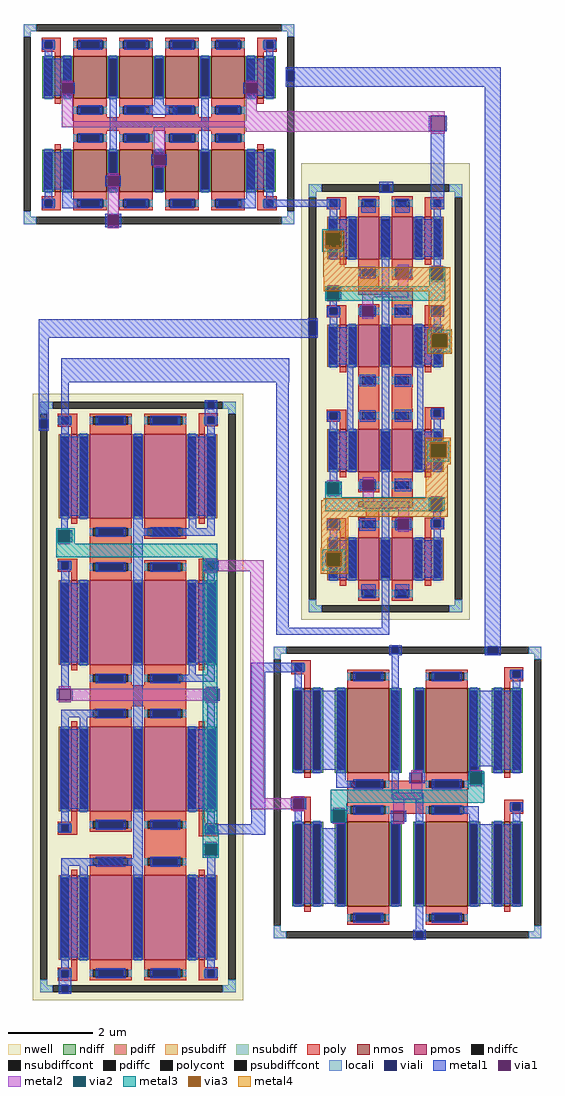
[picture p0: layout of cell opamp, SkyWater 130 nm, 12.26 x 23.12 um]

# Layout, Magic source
magic
tech sky130A
magscale 1 2
<< viali >>
rect 2764 3991 2798 4045
rect 2867 2788 2903 2857
rect 1594 2347 1628 2389
rect 3713 1278 3764 1312
<< metal1 >>
rect 2758 4045 3776 4057
rect 2758 3991 2764 4045
rect 2798 3991 3776 4045
rect 2758 3966 3776 3991
rect 3434 3754 3444 3828
rect 3510 3754 3520 3828
rect 2664 3396 3001 3430
rect 3444 3386 3509 3754
rect 2861 2864 2909 2869
rect 1586 2857 2910 2864
rect 1586 2788 2867 2857
rect 2903 2788 2910 2857
rect 1586 2776 2910 2788
rect 1587 2389 1634 2776
rect 1587 2347 1594 2389
rect 1628 2347 1634 2389
rect 1694 2566 2773 2679
rect 1694 2367 1728 2566
rect 1587 2335 1634 2347
rect 2367 1670 2377 1722
rect 2429 1670 2439 1722
rect 2712 1401 2771 2566
rect 3213 1401 3247 1641
rect 2712 1369 3247 1401
rect 3701 1312 3776 3966
rect 3701 1278 3713 1312
rect 3764 1278 3776 1312
rect 3701 1272 3776 1278
rect 2594 1191 2846 1237
rect 2594 470 2661 1191
rect 2782 542 2792 594
rect 2844 542 2854 594
rect 2375 423 2661 470
rect 2594 422 2661 423
<< via1 >>
rect 3444 3754 3510 3828
rect 2377 1670 2429 1722
rect 2792 542 2844 594
<< metal2 >>
rect 2567 3828 3510 3850
rect 2567 3754 3444 3828
rect 2567 3753 3510 3754
rect 3444 3744 3510 3753
rect 2377 1722 2429 1732
rect 2429 1670 2652 1722
rect 2377 1660 2429 1670
rect 2590 594 2652 1670
rect 2792 594 2844 604
rect 2590 542 2792 594
rect 2792 532 2844 542
use nmos  nmos_0
transform 1 0 2990 0 1 628
box -290 -704 978 690
use nmosout  nmosout_0
transform 1 0 1692 0 -1 3756
box -176 -507 1106 460
use pmoscs  pmoscs_0
transform 1 0 1736 0 1 458
box -178 -820 820 2052
use pmosout  pmosout_0
transform 1 0 3007 0 1 3029
box -176 -1590 622 574
<< end >>

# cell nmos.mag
magic
tech sky130A
magscale 1 2
<< nmos >>
rect -144 88 -114 488
rect -144 -545 -114 -145
rect 58 -545 258 -145
rect 430 -545 630 -145
rect 802 -545 832 -145
<< ndiff >>
rect -202 476 -144 488
rect -202 100 -190 476
rect -156 100 -144 476
rect -202 88 -144 100
rect -114 476 -56 488
rect -114 100 -102 476
rect -68 100 -56 476
rect -114 88 -56 100
rect -202 -157 -144 -145
rect -202 -533 -190 -157
rect -156 -533 -144 -157
rect -202 -545 -144 -533
rect -114 -157 -56 -145
rect -114 -533 -102 -157
rect -68 -533 -56 -157
rect -114 -545 -56 -533
rect 0 -157 58 -145
rect 0 -533 12 -157
rect 46 -533 58 -157
rect 0 -545 58 -533
rect 258 -157 316 -145
rect 258 -533 270 -157
rect 304 -533 316 -157
rect 258 -545 316 -533
rect 372 -157 430 -145
rect 372 -533 384 -157
rect 418 -533 430 -157
rect 372 -545 430 -533
rect 630 -157 688 -145
rect 630 -533 642 -157
rect 676 -533 688 -157
rect 630 -545 688 -533
rect 744 -157 802 -145
rect 744 -533 756 -157
rect 790 -533 802 -157
rect 744 -545 802 -533
rect 832 -157 890 -145
rect 832 -533 844 -157
rect 878 -533 890 -157
rect 832 -545 890 -533
<< ndiffc >>
rect -190 100 -156 476
rect -102 100 -68 476
rect -190 -533 -156 -157
rect -102 -533 -68 -157
rect 12 -533 46 -157
rect 270 -533 304 -157
rect 384 -533 418 -157
rect 642 -533 676 -157
rect 756 -533 790 -157
rect 844 -533 878 -157
<< psubdiff >>
rect -290 650 -230 684
rect 918 650 978 684
rect -290 624 -256 650
rect 944 624 978 650
rect -290 -664 -256 -638
rect 944 -664 978 -638
rect -290 -698 -230 -664
rect 918 -698 978 -664
<< psubdiffcont >>
rect -230 650 918 684
rect -290 -638 -256 624
rect 944 -638 978 624
rect -230 -698 918 -664
<< poly >>
rect -206 603 -114 619
rect -206 569 -190 603
rect -156 569 -114 603
rect -206 553 -114 569
rect -144 488 -114 553
rect 802 570 894 586
rect 802 536 844 570
rect 878 536 894 570
rect 802 520 894 536
rect 802 514 832 520
rect -144 62 -114 88
rect -206 -42 -114 -26
rect -206 -76 -190 -42
rect -156 -76 -114 -42
rect -206 -92 -114 -76
rect -144 -145 -114 -92
rect 58 -73 630 50
rect 58 -107 74 -73
rect 242 -107 446 -73
rect 614 -107 630 -73
rect 58 -145 258 -107
rect 430 -145 630 -107
rect 802 -58 894 -42
rect 802 -92 844 -58
rect 878 -92 894 -58
rect 802 -108 894 -92
rect 802 -145 832 -108
rect -144 -571 -114 -545
rect 58 -583 258 -545
rect 58 -617 74 -583
rect 242 -617 258 -583
rect 58 -633 258 -617
rect 430 -583 630 -545
rect 802 -571 832 -545
rect 430 -617 446 -583
rect 614 -617 630 -583
rect 430 -633 630 -617
<< polycont >>
rect -190 569 -156 603
rect 844 536 878 570
rect -190 -76 -156 -42
rect 74 -107 242 -73
rect 446 -107 614 -73
rect 844 -92 878 -58
rect 74 -617 242 -583
rect 446 -617 614 -583
<< locali >>
rect -290 650 -230 684
rect 918 650 978 684
rect -290 624 -256 650
rect 944 624 978 650
rect -206 569 -190 603
rect -156 569 -140 603
rect 828 536 844 570
rect 878 536 894 570
rect -190 476 -156 492
rect -190 84 -156 100
rect -102 476 -68 492
rect -102 84 -68 100
rect -206 -76 -190 -42
rect -156 -76 -140 -42
rect 58 -107 74 -73
rect 242 -107 258 -73
rect 430 -107 446 -73
rect 614 -107 630 -73
rect 828 -92 844 -58
rect 878 -92 894 -58
rect -190 -157 -156 -141
rect -190 -549 -156 -533
rect -102 -157 -68 -141
rect -102 -549 -68 -533
rect 12 -157 46 -141
rect 12 -549 46 -533
rect 270 -157 304 -141
rect 270 -549 304 -533
rect 384 -157 418 -141
rect 384 -549 418 -533
rect 642 -157 676 -141
rect 642 -549 676 -533
rect 756 -157 790 -141
rect 756 -549 790 -533
rect 844 -157 878 -141
rect 844 -549 878 -533
rect 58 -617 74 -583
rect 242 -617 258 -583
rect 430 -617 446 -583
rect 614 -617 630 -583
rect -290 -664 -256 -638
rect 944 -664 978 -638
rect -290 -698 -230 -664
rect 918 -698 978 -664
<< viali >>
rect 270 650 304 684
rect -190 569 -156 603
rect 844 536 878 570
rect -190 100 -156 476
rect -102 100 -68 476
rect -190 -76 -156 -42
rect 99 -107 217 -73
rect 471 -107 589 -73
rect 844 -92 878 -58
rect -190 -533 -156 -157
rect -102 -533 -68 -157
rect 12 -533 46 -157
rect 270 -533 304 -157
rect 384 -533 418 -157
rect 642 -533 676 -157
rect 756 -533 790 -157
rect 844 -533 878 -157
rect 99 -617 217 -583
rect 471 -617 589 -583
rect 384 -698 418 -664
<< metal1 >>
rect 258 684 316 690
rect 258 650 270 684
rect 304 650 316 684
rect 258 644 316 650
rect -202 603 -144 609
rect -202 569 -190 603
rect -156 569 -144 603
rect -202 563 -144 569
rect -190 488 -156 563
rect -196 476 -150 488
rect -108 476 -62 488
rect -196 100 -190 476
rect -156 100 -102 476
rect -68 475 -62 476
rect -68 100 46 475
rect -196 88 -150 100
rect -108 88 -62 100
rect 7 50 52 88
rect 7 16 99 50
rect 270 -7 304 644
rect 832 570 890 576
rect 832 536 844 570
rect 878 536 890 570
rect 832 530 890 536
rect 844 476 878 530
rect 642 118 878 476
rect 756 100 878 118
rect 352 36 362 88
rect 414 36 427 88
rect 632 32 642 88
rect 698 32 708 88
rect -202 -42 -144 -36
rect 269 -40 419 -7
rect -202 -76 -190 -42
rect -156 -76 -144 -42
rect -202 -82 -144 -76
rect 87 -73 229 -67
rect -190 -145 -156 -82
rect -20 -145 -10 -89
rect 46 -145 56 -89
rect 87 -107 99 -73
rect 217 -107 229 -73
rect 87 -113 229 -107
rect 266 -145 276 -93
rect 328 -145 338 -93
rect 384 -145 418 -40
rect 832 -58 890 -52
rect 459 -73 601 -67
rect 459 -107 471 -73
rect 589 -107 682 -73
rect 832 -92 844 -58
rect 878 -92 890 -58
rect 832 -98 890 -92
rect 459 -113 601 -107
rect -196 -157 -150 -145
rect -108 -157 -62 -145
rect -196 -533 -190 -157
rect -156 -533 -102 -157
rect -68 -175 -62 -157
rect 6 -157 52 -145
rect 6 -175 12 -157
rect -68 -533 12 -175
rect 46 -533 52 -157
rect -196 -545 -150 -533
rect -108 -545 -62 -533
rect 6 -545 52 -533
rect 264 -157 310 -145
rect 264 -533 270 -157
rect 304 -533 310 -157
rect 264 -545 310 -533
rect 378 -157 424 -145
rect 378 -533 384 -157
rect 418 -533 424 -157
rect 378 -545 424 -533
rect 636 -157 682 -107
rect 844 -145 878 -98
rect 750 -157 796 -145
rect 838 -157 884 -145
rect 636 -533 642 -157
rect 676 -533 756 -157
rect 790 -533 844 -157
rect 878 -533 884 -157
rect 636 -545 682 -533
rect 750 -545 796 -533
rect 838 -545 884 -533
rect 87 -583 229 -577
rect 87 -617 99 -583
rect 217 -617 229 -583
rect 87 -623 229 -617
rect 384 -658 418 -545
rect 459 -583 601 -577
rect 459 -617 471 -583
rect 589 -617 601 -583
rect 459 -623 601 -617
rect 372 -664 430 -658
rect 372 -698 384 -664
rect 418 -698 430 -664
rect 372 -704 430 -698
<< via1 >>
rect 362 36 414 88
rect 642 32 698 88
rect -10 -145 46 -89
rect 276 -145 328 -93
<< metal2 >>
rect 362 88 414 98
rect 362 -7 414 36
rect 642 88 698 98
rect 642 22 698 32
rect 276 -39 414 -7
rect -10 -89 46 -79
rect -10 -155 46 -145
rect 276 -93 329 -39
rect 328 -145 329 -93
rect 276 -155 328 -145
<< via2 >>
rect 642 32 698 88
rect -10 -145 46 -89
<< metal3 >>
rect 632 88 708 93
rect 632 32 642 88
rect 698 32 708 88
rect 632 7 708 32
rect -20 -55 708 7
rect -20 -89 56 -55
rect -20 -145 -10 -89
rect 46 -145 56 -89
rect -20 -150 56 -145
use sky130_fd_pr__nfet_01v8_6C7GGL  sky130_fd_pr__nfet_01v8_6C7GGL_0
transform 1 0 817 0 1 288
box -73 -226 73 226
use sky130_fd_pr__nfet_01v8_8UMB6F  sky130_fd_pr__nfet_01v8_8UMB6F_0
transform 1 0 344 0 1 288
box -344 -288 344 288
<< labels >>
flabel metal1 288 228 288 228 0 FreeSans 320 0 0 0 S3
flabel metal1 30 231 30 231 0 FreeSans 320 0 0 0 D3
flabel space 400 223 400 223 0 FreeSans 320 0 0 0 S4
flabel metal1 667 217 667 217 0 FreeSans 320 0 0 0 D4
flabel viali 287 -309 287 -309 0 FreeSans 320 0 0 0 S4
flabel viali 30 -318 30 -318 0 FreeSans 320 0 0 0 D4
flabel viali 400 -333 400 -333 0 FreeSans 320 0 0 0 S3
flabel viali 657 -337 657 -337 0 FreeSans 320 0 0 0 D3
flabel viali 399 -681 399 -681 0 FreeSans 1600 0 0 0 gnd
port 1 nsew
flabel via1 382 67 382 67 0 FreeSans 1600 0 0 0 rs
port 2 nsew
flabel metal1 29 42 29 42 0 FreeSans 1600 0 0 0 d3
port 3 nsew
flabel via2 669 54 669 54 0 FreeSans 1600 0 0 0 d4
port 4 nsew
<< end >>

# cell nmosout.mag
magic
tech sky130A
magscale 1 2
<< psubdiff >>
rect -176 407 -116 441
rect 1046 407 1106 441
rect -176 381 -142 407
rect 1072 381 1106 407
rect -176 -473 -142 -447
rect 1072 -473 1106 -447
rect -176 -507 -116 -473
rect 1046 -507 1106 -473
<< psubdiffcont >>
rect -116 407 1046 441
rect -176 -447 -142 381
rect 1072 -447 1106 381
rect -116 -507 1046 -473
<< poly >>
rect -92 360 0 376
rect -92 326 -76 360
rect -42 326 0 360
rect -92 310 0 326
rect -30 294 0 310
rect 930 360 1022 376
rect 930 326 972 360
rect 1006 326 1022 360
rect 930 310 1022 326
rect 930 296 958 310
rect 58 -66 872 0
rect -30 -376 0 -362
rect -92 -392 0 -376
rect -92 -426 -76 -392
rect -42 -426 0 -392
rect -92 -442 0 -426
rect 930 -376 960 -365
rect 930 -392 1022 -376
rect 930 -426 972 -392
rect 1006 -426 1022 -392
rect 930 -442 1022 -426
<< polycont >>
rect -76 326 -42 360
rect 972 326 1006 360
rect -76 -426 -42 -392
rect 972 -426 1006 -392
<< locali >>
rect -176 407 -116 441
rect 1046 407 1106 441
rect -176 381 -142 407
rect 1072 381 1106 407
rect -92 326 -76 360
rect -42 326 -26 360
rect 956 326 972 360
rect 1006 326 1022 360
rect -92 -426 -76 -392
rect -42 -426 -26 -392
rect 956 -426 972 -392
rect 1006 -426 1022 -392
rect -176 -473 -142 -447
rect 1072 -473 1106 -447
rect -176 -507 -116 -473
rect 1046 -507 1106 -473
<< viali >>
rect 221 441 273 450
rect 221 407 273 441
rect 221 398 273 407
rect -76 326 -42 360
rect 972 326 1006 360
rect -76 -426 -42 -392
rect 972 -426 1006 -392
<< metal1 >>
rect 209 450 285 456
rect 209 398 221 450
rect 273 398 285 450
rect 209 392 285 398
rect -88 360 -30 366
rect -88 326 -76 360
rect -42 326 -30 360
rect -88 320 -30 326
rect 6 320 84 366
rect 845 320 924 366
rect 960 360 1018 366
rect 960 326 972 360
rect 1006 326 1018 360
rect 960 320 1018 326
rect -76 276 -42 320
rect 6 277 52 320
rect 878 276 924 320
rect 972 276 1006 320
rect -76 100 46 276
rect 878 269 1006 276
rect 211 211 221 263
rect 273 211 283 263
rect 429 110 439 162
rect 491 110 501 162
rect 884 100 1006 269
rect 231 -18 264 91
rect 665 -18 700 90
rect 231 -46 700 -18
rect 231 -158 264 -46
rect 398 -122 552 -76
rect 442 -154 488 -122
rect 665 -163 700 -46
rect -76 -176 46 -166
rect 884 -176 1006 -166
rect -76 -228 3 -176
rect 55 -228 65 -176
rect 865 -228 875 -176
rect 927 -228 1006 -176
rect -76 -342 46 -228
rect 884 -342 1006 -228
rect -76 -386 -42 -345
rect 972 -386 1006 -346
rect -88 -392 -30 -386
rect -88 -426 -76 -392
rect -42 -426 -30 -392
rect -88 -432 -30 -426
rect 960 -392 1018 -386
rect 960 -426 972 -392
rect 1006 -426 1018 -392
rect 960 -432 1018 -426
<< via1 >>
rect 221 398 273 450
rect 221 211 273 263
rect 439 110 491 162
rect 3 -228 55 -176
rect 875 -228 927 -176
<< metal2 >>
rect 221 450 273 460
rect 221 263 273 398
rect 221 201 273 211
rect 439 162 491 172
rect 439 -18 491 110
rect 3 -46 927 -18
rect 3 -176 55 -46
rect 3 -238 55 -228
rect 875 -176 927 -46
rect 875 -238 927 -228
use sky130_fd_pr__nfet_01v8_6H9P4D  sky130_fd_pr__nfet_01v8_6H9P4D_0
transform 1 0 945 0 1 188
box -73 -126 73 126
use sky130_fd_pr__nfet_01v8_6H9P4D  sky130_fd_pr__nfet_01v8_6H9P4D_1
transform 1 0 -15 0 1 188
box -73 -126 73 126
use sky130_fd_pr__nfet_01v8_6H9P4D  sky130_fd_pr__nfet_01v8_6H9P4D_2
transform 1 0 -15 0 1 -254
box -73 -126 73 126
use sky130_fd_pr__nfet_01v8_6H9P4D  sky130_fd_pr__nfet_01v8_6H9P4D_3
transform 1 0 945 0 1 -254
box -73 -126 73 126
use sky130_fd_pr__nfet_01v8_DXNGNZ  sky130_fd_pr__nfet_01v8_DXNGNZ_0
transform 1 0 465 0 1 188
box -465 -188 465 188
use sky130_fd_pr__nfet_01v8_DXNGNZ  sky130_fd_pr__nfet_01v8_DXNGNZ_1
transform 1 0 465 0 1 -254
box -465 -188 465 188
<< labels >>
flabel metal2 242 350 242 350 0 FreeSans 800 0 0 0 gnd
port 0 nsew
flabel metal1 -24 188 -24 188 0 FreeSans 800 0 0 0 d8
port 1 nsew
flabel metal1 -20 -248 -20 -248 0 FreeSans 800 0 0 0 out
port 2 nsew
<< end >>

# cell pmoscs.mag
magic
tech sky130A
magscale 1 2
<< nwell >>
rect -178 -820 820 2052
<< nsubdiff >>
rect -142 1982 -82 2016
rect 724 1982 784 2016
rect -142 1957 -108 1982
rect 750 1957 784 1982
rect -142 -750 -108 -724
rect 750 -750 784 -724
rect -142 -784 -82 -750
rect 724 -784 784 -750
<< nsubdiffcont >>
rect -82 1982 724 2016
rect -142 -724 -108 1957
rect 750 -724 784 1957
rect -82 -784 724 -750
<< poly >>
rect -58 1943 34 1959
rect -58 1909 -42 1943
rect -8 1909 34 1943
rect -58 1897 34 1909
rect 4 1868 34 1897
rect 608 1944 700 1960
rect 608 1910 650 1944
rect 684 1910 700 1944
rect 608 1898 700 1910
rect 608 1884 638 1898
rect -58 1256 34 1272
rect 92 1265 292 1365
rect -58 1222 -42 1256
rect -8 1222 34 1256
rect -58 1210 34 1222
rect 4 1192 34 1210
rect 608 1254 700 1270
rect 608 1220 650 1254
rect 684 1220 700 1254
rect 608 1208 700 1220
rect 608 1181 638 1208
rect 92 571 550 671
rect 608 76 636 77
rect 4 24 34 50
rect -58 12 34 24
rect -58 -22 -42 12
rect -8 -22 34 12
rect -58 -38 34 -22
rect 608 34 638 76
rect 608 18 639 34
rect 608 6 701 18
rect 350 -132 550 -23
rect 608 -28 651 6
rect 685 -28 701 6
rect 608 -44 701 -28
rect 4 -666 34 -648
rect -58 -678 34 -666
rect -58 -712 -42 -678
rect -8 -712 34 -678
rect -58 -728 34 -712
rect 608 -665 638 -640
rect 608 -677 700 -665
rect 608 -711 650 -677
rect 684 -711 700 -677
rect 608 -727 700 -711
<< polycont >>
rect -42 1909 -8 1943
rect 650 1910 684 1944
rect -42 1222 -8 1256
rect 650 1220 684 1254
rect -42 -22 -8 12
rect 651 -28 685 6
rect -42 -712 -8 -678
rect 650 -711 684 -677
<< locali >>
rect -142 1982 -82 2016
rect 724 1982 784 2016
rect -142 1957 -108 1982
rect 750 1957 784 1982
rect -58 1909 -42 1943
rect -8 1909 8 1943
rect 634 1910 650 1944
rect 684 1910 700 1944
rect -58 1222 -42 1256
rect -8 1222 8 1256
rect 634 1220 650 1254
rect 684 1220 700 1254
rect -58 -22 -42 12
rect -8 -22 8 12
rect 635 -28 651 6
rect 685 -28 701 6
rect -58 -712 -42 -678
rect -8 -712 8 -678
rect 634 -711 650 -677
rect 684 -711 700 -677
rect -142 -750 -108 -724
rect 750 -750 784 -724
rect -142 -784 -82 -750
rect 724 -784 784 -750
<< viali >>
rect 650 1982 684 2016
rect -42 1909 -8 1943
rect 650 1910 684 1944
rect -42 1222 -8 1256
rect 650 1220 684 1254
rect -42 -22 -8 12
rect 651 -28 685 6
rect -42 -712 -8 -678
rect 650 -711 684 -677
rect -42 -784 -8 -750
<< metal1 >>
rect 638 2016 696 2022
rect 638 1982 650 2016
rect 684 1982 696 2016
rect -54 1943 4 1949
rect -54 1909 -42 1943
rect -8 1909 4 1943
rect -54 1903 4 1909
rect 638 1944 696 1982
rect 638 1910 650 1944
rect 684 1910 696 1944
rect 638 1904 696 1910
rect -42 1852 -8 1903
rect -42 1474 82 1850
rect -42 1405 -12 1474
rect 298 1415 344 1862
rect 650 1850 684 1904
rect 562 1475 684 1850
rect 561 1474 684 1475
rect 561 1415 597 1474
rect 650 1415 684 1474
rect -67 1349 -57 1405
rect -1 1349 9 1405
rect 298 1381 684 1415
rect -42 1339 -12 1349
rect -54 1256 4 1262
rect -54 1222 -42 1256
rect -8 1222 4 1256
rect -54 1216 4 1222
rect -42 1162 -5 1216
rect -7 1159 -5 1162
rect -42 780 80 1156
rect -42 656 -8 780
rect -64 600 -54 656
rect 2 600 12 656
rect -42 521 121 555
rect -42 474 -8 521
rect 46 474 80 521
rect -42 86 80 462
rect -42 18 -8 86
rect -54 12 4 18
rect -54 -22 -42 12
rect -8 -22 4 12
rect -54 -28 4 -22
rect 298 -148 344 1381
rect 638 1254 696 1260
rect 638 1220 650 1254
rect 684 1220 696 1254
rect 638 1214 696 1220
rect 650 1156 684 1214
rect 562 780 684 1156
rect 562 721 596 768
rect 650 721 684 768
rect 521 687 684 721
rect 650 655 684 659
rect 633 599 643 655
rect 699 599 709 655
rect 650 462 684 599
rect 562 90 684 462
rect 562 87 685 90
rect 562 86 686 87
rect 650 12 686 86
rect 639 6 697 12
rect 639 -28 651 6
rect 685 -28 697 6
rect 639 -34 697 -28
rect 629 -135 639 -79
rect 695 -135 705 -79
rect -43 -184 344 -148
rect -42 -241 -8 -184
rect 46 -241 82 -184
rect -42 -298 82 -241
rect -42 -617 80 -298
rect -42 -672 -8 -617
rect 298 -620 344 -184
rect 650 -241 687 -135
rect 562 -243 687 -241
rect 562 -610 684 -243
rect 562 -616 678 -610
rect 562 -617 684 -616
rect 650 -671 684 -617
rect -54 -678 4 -672
rect -54 -712 -42 -678
rect -8 -712 4 -678
rect -54 -750 4 -712
rect 638 -677 696 -671
rect 638 -711 650 -677
rect 684 -711 696 -677
rect 638 -717 696 -711
rect -54 -784 -42 -750
rect -8 -784 4 -750
rect -54 -790 4 -784
<< via1 >>
rect -57 1349 -1 1405
rect -54 600 2 656
rect 643 599 699 655
rect 639 -135 695 -79
<< metal2 >>
rect -57 1405 -1 1415
rect -57 1339 -1 1349
rect -54 656 2 666
rect 643 656 699 665
rect 2 655 699 656
rect 2 600 643 655
rect -54 599 643 600
rect -54 590 2 599
rect 643 589 699 599
rect 639 -79 695 -69
rect 639 -145 695 -135
<< via2 >>
rect -57 1349 -1 1405
rect 639 -135 695 -79
<< metal3 >>
rect -67 1405 22 1416
rect -67 1349 -57 1405
rect -1 1349 22 1405
rect -67 1343 22 1349
rect -67 1314 697 1343
rect -66 1279 697 1314
rect 21 1278 697 1279
rect 629 -21 697 1278
rect 629 -79 705 -21
rect 629 -135 639 -79
rect 695 -135 705 -79
rect 629 -147 705 -135
use sky130_fd_pr__pfet_01v8_2ZH9AN  sky130_fd_pr__pfet_01v8_2ZH9AN_0
transform 1 0 623 0 1 -429
box -109 -262 109 262
use sky130_fd_pr__pfet_01v8_2ZH9AN  sky130_fd_pr__pfet_01v8_2ZH9AN_2
transform 1 0 19 0 1 -429
box -109 -262 109 262
use sky130_fd_pr__pfet_01v8_2ZH9AN  sky130_fd_pr__pfet_01v8_2ZH9AN_3
transform 1 0 623 0 1 274
box -109 -262 109 262
use sky130_fd_pr__pfet_01v8_2ZH9AN  sky130_fd_pr__pfet_01v8_2ZH9AN_4
transform 1 0 19 0 1 274
box -109 -262 109 262
use sky130_fd_pr__pfet_01v8_2ZH9AN  sky130_fd_pr__pfet_01v8_2ZH9AN_5
transform 1 0 623 0 1 968
box -109 -262 109 262
use sky130_fd_pr__pfet_01v8_2ZH9AN  sky130_fd_pr__pfet_01v8_2ZH9AN_6
transform 1 0 19 0 1 968
box -109 -262 109 262
use sky130_fd_pr__pfet_01v8_2ZH9AN  sky130_fd_pr__pfet_01v8_2ZH9AN_7
transform 1 0 19 0 1 1662
box -109 -262 109 262
use sky130_fd_pr__pfet_01v8_5YU9EE  sky130_fd_pr__pfet_01v8_5YU9EE_0
transform 1 0 623 0 1 1662
box -109 -262 109 262
use sky130_fd_pr__pfet_01v8_SZEHRC  sky130_fd_pr__pfet_01v8_SZEHRC_0
transform 1 0 321 0 1 1662
box -323 -300 323 300
use sky130_fd_pr__pfet_01v8_SZEHRC  sky130_fd_pr__pfet_01v8_SZEHRC_1
transform 1 0 321 0 1 968
box -323 -300 323 300
use sky130_fd_pr__pfet_01v8_SZEHRC  sky130_fd_pr__pfet_01v8_SZEHRC_2
transform 1 0 321 0 1 274
box -323 -300 323 300
use sky130_fd_pr__pfet_01v8_SZEHRC  sky130_fd_pr__pfet_01v8_SZEHRC_3
transform 1 0 321 0 1 -429
box -323 -300 323 300
<< labels >>
flabel nwell -42 1630 -8 1664 0 FreeSans 160 0 0 0 D5
flabel nwell 19 1639 19 1639 0 FreeSans 160 0 0 0 D
flabel nwell 59 1641 59 1641 0 FreeSans 160 0 0 0 D5
flabel nwell 178 1647 178 1647 0 FreeSans 160 0 0 0 M5
flabel nwell 319 1632 319 1639 0 FreeSans 160 0 0 0 S
flabel nwell 454 1654 454 1654 0 FreeSans 160 0 0 0 D
flabel nwell 576 1664 576 1664 0 FreeSans 160 0 0 0 S
flabel nwell 623 1664 623 1664 0 FreeSans 160 0 0 0 D
flabel nwell 663 1662 663 1662 0 FreeSans 160 0 0 0 S
flabel nwell 456 967 456 967 0 FreeSans 160 0 0 0 M2
flabel nwell 323 970 323 970 0 FreeSans 160 0 0 0 S
flabel nwell 198 978 198 978 0 FreeSans 160 0 0 0 M1
flabel nwell 67 963 67 963 0 FreeSans 160 0 0 0 D1
flabel nwell 16 963 16 963 0 FreeSans 160 0 0 0 D
flabel nwell -25 963 -25 963 0 FreeSans 160 0 0 0 D1
flabel nwell -25 289 -25 289 0 FreeSans 160 0 0 0 D2
flabel nwell 18 284 18 284 0 FreeSans 160 0 0 0 D
flabel nwell 59 273 59 273 0 FreeSans 160 0 0 0 D2
flabel nwell 174 267 174 267 0 FreeSans 160 0 0 0 M2
flabel nwell 317 264 317 264 0 FreeSans 160 0 0 0 S
flabel nwell 455 264 455 264 0 FreeSans 160 0 0 0 M1
flabel nwell 574 266 574 266 0 FreeSans 160 0 0 0 D1
flabel nwell 616 283 616 283 0 FreeSans 160 0 0 0 D
flabel nwell 664 291 664 291 0 FreeSans 160 0 0 0 D1
flabel nwell 670 -418 670 -418 0 FreeSans 160 0 0 0 D5
flabel nwell 625 -425 625 -425 0 FreeSans 160 0 0 0 D
flabel nwell 575 -418 575 -418 0 FreeSans 160 0 0 0 D5
flabel nwell 473 -414 473 -414 0 FreeSans 160 0 0 0 M5
flabel nwell 331 -414 331 -414 0 FreeSans 160 0 0 0 S
flabel nwell 182 -416 182 -416 0 FreeSans 160 0 0 0 D
flabel nwell 61 -415 61 -415 0 FreeSans 160 0 0 0 S
flabel nwell -20 -420 -20 -420 0 FreeSans 160 0 0 0 S
flabel nwell 16 -418 16 -418 0 FreeSans 160 0 0 0 D
flabel nwell 578 970 578 970 0 FreeSans 160 0 0 0 D2
flabel nwell 627 976 627 976 0 FreeSans 160 0 0 0 D
flabel nwell 669 965 670 975 0 FreeSans 160 0 0 0 D2
flabel metal1 666 1973 666 1973 0 FreeSans 1600 0 0 0 vdd
port 2 nsew
flabel metal2 65 622 65 622 0 FreeSans 1600 0 0 0 d1
port 3 nsew
flabel metal1 572 705 572 705 0 FreeSans 1600 0 0 0 d2
port 4 nsew
flabel metal3 663 -43 663 -43 0 FreeSans 1600 0 0 0 d5
port 5 nsew
<< end >>

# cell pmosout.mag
magic
tech sky130A
magscale 1 2
<< nwell >>
rect -176 -1590 622 574
<< nsubdiff >>
rect -140 440 -80 474
rect 526 440 586 474
rect -140 414 -106 440
rect 552 414 586 440
rect -140 -1520 -106 -1494
rect 552 -1520 586 -1494
rect -140 -1554 -80 -1520
rect 526 -1554 586 -1520
<< nsubdiffcont >>
rect -80 440 526 474
rect -140 -1494 -106 414
rect 552 -1494 586 414
rect -80 -1554 526 -1520
<< poly >>
rect -56 401 36 412
rect -56 367 -40 401
rect -6 367 36 401
rect -56 356 36 367
rect 6 330 36 356
rect 410 402 502 413
rect 410 368 452 402
rect 486 368 502 402
rect 410 357 502 368
rect 410 337 440 357
rect 94 -19 194 84
rect 94 -50 353 -19
rect -56 -110 36 -99
rect -56 -144 -40 -110
rect -6 -144 36 -110
rect 252 -143 352 -50
rect 410 -109 502 -98
rect 410 -143 452 -109
rect 486 -143 502 -109
rect -56 -155 36 -144
rect 6 -181 36 -155
rect 410 -154 502 -143
rect 410 -176 440 -154
rect -56 -606 36 -595
rect 94 -603 194 -486
rect 252 -599 351 -487
rect 410 -593 502 -582
rect -56 -640 -40 -606
rect -6 -640 36 -606
rect -56 -651 36 -640
rect 6 -677 36 -651
rect 410 -627 452 -593
rect 486 -627 502 -593
rect 410 -638 502 -627
rect 410 -664 440 -638
rect 252 -1027 352 -959
rect 94 -1057 352 -1027
rect 130 -1058 352 -1057
rect -56 -1120 36 -1109
rect 130 -1111 194 -1058
rect -56 -1154 -40 -1120
rect -6 -1154 36 -1120
rect -56 -1165 36 -1154
rect 6 -1191 36 -1165
rect 410 -1116 502 -1105
rect 410 -1150 452 -1116
rect 486 -1150 502 -1116
rect 410 -1161 502 -1150
rect 410 -1187 440 -1161
<< polycont >>
rect -40 367 -6 401
rect 452 368 486 402
rect -40 -144 -6 -110
rect 452 -143 486 -109
rect -40 -640 -6 -606
rect 452 -627 486 -593
rect -40 -1154 -6 -1120
rect 452 -1150 486 -1116
<< locali >>
rect -140 440 -80 474
rect 526 440 586 474
rect -140 414 -106 440
rect 552 414 586 440
rect -56 367 -40 401
rect -6 367 10 401
rect 436 368 452 402
rect 486 368 502 402
rect -56 -144 -40 -110
rect -6 -144 10 -110
rect 436 -143 452 -109
rect 486 -143 502 -109
rect -56 -640 -40 -606
rect -6 -640 10 -606
rect 436 -627 452 -593
rect 486 -627 502 -593
rect -56 -1154 -40 -1120
rect -6 -1154 10 -1120
rect 436 -1150 452 -1116
rect 486 -1150 502 -1116
rect -140 -1520 -106 -1494
rect 552 -1520 586 -1494
rect -140 -1554 -80 -1520
rect 526 -1554 586 -1520
<< viali >>
rect 208 440 242 474
rect -40 367 -6 401
rect 452 368 486 402
rect -40 -144 -6 -110
rect 452 -143 486 -109
rect -40 -640 -6 -606
rect 452 -627 486 -593
rect -40 -1154 -6 -1120
rect 452 -1150 486 -1116
<< metal1 >>
rect 193 474 260 487
rect 193 440 208 474
rect 242 440 260 474
rect 193 434 260 440
rect -52 401 6 407
rect -52 367 -40 401
rect -6 367 6 401
rect 440 402 498 408
rect -52 356 6 367
rect -40 308 -6 356
rect 109 339 176 389
rect 270 339 337 389
rect 440 368 452 402
rect 486 368 498 402
rect 440 357 498 368
rect 452 308 486 357
rect -40 243 82 308
rect -62 187 -52 243
rect 4 187 82 243
rect -40 132 82 187
rect 100 81 174 83
rect 100 31 176 81
rect 100 29 174 31
rect -63 -70 -53 -14
rect 3 -70 13 -14
rect -41 -104 -7 -70
rect 100 -101 174 -100
rect -52 -110 6 -104
rect -52 -144 -40 -110
rect -6 -144 6 -110
rect -52 -155 6 -144
rect 100 -153 114 -101
rect 166 -153 176 -101
rect 100 -154 174 -153
rect -41 -194 -6 -155
rect -40 -379 82 -203
rect -52 -606 6 -600
rect -52 -640 -40 -606
rect -6 -640 6 -606
rect -52 -651 6 -640
rect -40 -695 -6 -651
rect 42 -699 71 -379
rect 100 -430 174 -428
rect 100 -480 176 -430
rect 100 -482 174 -480
rect 100 -598 174 -596
rect 100 -648 176 -598
rect 100 -650 174 -648
rect -40 -861 82 -699
rect -41 -875 82 -861
rect -41 -939 -6 -875
rect 100 -925 174 -924
rect -62 -995 -52 -939
rect 4 -995 14 -939
rect 100 -977 115 -925
rect 167 -977 177 -925
rect 100 -978 174 -977
rect 100 -1113 177 -1108
rect -52 -1120 6 -1114
rect -52 -1154 -40 -1120
rect -6 -1154 6 -1120
rect -52 -1165 6 -1154
rect -40 -1208 -6 -1165
rect 99 -1167 177 -1113
rect -40 -1274 82 -1213
rect -62 -1330 -52 -1274
rect 4 -1330 82 -1274
rect -40 -1389 82 -1330
rect 206 -1381 240 300
rect 364 132 486 308
rect 272 82 346 83
rect 271 81 281 82
rect 270 31 281 81
rect 271 30 281 31
rect 333 30 346 82
rect 452 79 486 132
rect 272 29 346 30
rect 431 23 441 79
rect 497 23 507 79
rect 268 -156 346 -97
rect 440 -109 498 -103
rect 440 -143 452 -109
rect 486 -143 498 -109
rect 440 -154 498 -143
rect 452 -203 486 -154
rect 364 -238 486 -203
rect 364 -294 446 -238
rect 502 -294 512 -238
rect 364 -379 486 -294
rect 268 -484 346 -425
rect 268 -652 346 -593
rect 374 -699 403 -379
rect 440 -593 498 -587
rect 440 -627 452 -593
rect 486 -627 498 -593
rect 440 -638 498 -627
rect 452 -699 486 -638
rect 364 -758 486 -699
rect 364 -814 443 -758
rect 499 -814 509 -758
rect 364 -875 486 -814
rect 268 -980 346 -921
rect 427 -1070 437 -1014
rect 493 -1070 503 -1014
rect 450 -1110 486 -1070
rect 272 -1111 346 -1110
rect 272 -1112 282 -1111
rect 270 -1162 282 -1112
rect 272 -1163 282 -1162
rect 334 -1163 346 -1111
rect 440 -1116 498 -1110
rect 440 -1150 452 -1116
rect 486 -1150 498 -1116
rect 440 -1161 498 -1150
rect 272 -1164 346 -1163
rect 452 -1212 486 -1161
rect 364 -1389 486 -1213
rect 109 -1470 176 -1420
rect 269 -1470 336 -1420
<< via1 >>
rect -52 187 4 243
rect -53 -70 3 -14
rect 114 -153 166 -101
rect -52 -995 4 -939
rect 115 -977 167 -925
rect -52 -1330 4 -1274
rect 281 30 333 82
rect 441 23 497 79
rect 446 -294 502 -238
rect 443 -814 499 -758
rect 437 -1070 493 -1014
rect 282 -1163 334 -1111
<< metal2 >>
rect -52 243 4 253
rect -52 177 4 187
rect 281 82 333 92
rect 281 20 333 30
rect 441 79 497 89
rect -53 -14 3 -4
rect 281 -18 332 20
rect 441 13 497 23
rect -53 -80 3 -70
rect 114 -55 332 -18
rect 114 -60 331 -55
rect 114 -101 166 -60
rect 114 -163 166 -153
rect 446 -238 502 -228
rect 446 -304 502 -294
rect 443 -758 499 -748
rect 443 -824 499 -814
rect 115 -925 167 -915
rect -52 -939 4 -929
rect -52 -1005 4 -995
rect 115 -979 167 -977
rect 115 -1027 168 -979
rect 437 -1014 493 -1004
rect 115 -1062 335 -1027
rect 283 -1101 335 -1062
rect 437 -1080 493 -1070
rect 282 -1111 335 -1101
rect 282 -1173 334 -1163
rect -52 -1274 4 -1264
rect -52 -1340 4 -1330
<< via2 >>
rect -52 187 4 243
rect 441 23 497 79
rect -53 -70 3 -14
rect 446 -294 502 -238
rect 443 -814 499 -758
rect -52 -995 4 -939
rect 437 -1070 493 -1014
rect -52 -1330 4 -1274
<< metal3 >>
rect -77 249 24 262
rect -77 171 -59 249
rect 13 171 24 249
rect -77 155 24 171
rect 431 79 507 84
rect 431 23 441 79
rect 497 23 507 79
rect 431 -9 507 23
rect -63 -14 507 -9
rect -63 -70 -53 -14
rect 3 -70 507 -14
rect -63 -78 507 -70
rect 425 -234 530 -215
rect 425 -300 442 -234
rect 515 -300 530 -234
rect 425 -322 530 -300
rect 422 -751 526 -743
rect 422 -821 436 -751
rect 514 -821 526 -751
rect 422 -841 526 -821
rect -62 -935 14 -934
rect -62 -939 15 -935
rect -62 -995 -52 -939
rect 4 -995 15 -939
rect -62 -1009 15 -995
rect -62 -1014 503 -1009
rect -62 -1070 437 -1014
rect 493 -1070 503 -1014
rect -62 -1076 503 -1070
rect -76 -1268 33 -1256
rect -76 -1336 -55 -1268
rect 14 -1336 33 -1268
rect -76 -1357 33 -1336
<< via3 >>
rect -59 243 13 249
rect -59 187 -52 243
rect -52 187 4 243
rect 4 187 13 243
rect -59 171 13 187
rect 442 -238 515 -234
rect 442 -294 446 -238
rect 446 -294 502 -238
rect 502 -294 515 -238
rect 442 -300 515 -294
rect 436 -758 514 -751
rect 436 -814 443 -758
rect 443 -814 499 -758
rect 499 -814 514 -758
rect 436 -821 514 -814
rect -55 -1274 14 -1268
rect -55 -1330 -52 -1274
rect -52 -1330 4 -1274
rect 4 -1330 14 -1274
rect -55 -1336 14 -1330
<< metal4 >>
rect -72 249 27 255
rect -72 171 -59 249
rect 13 171 27 249
rect -72 82 27 171
rect -72 81 522 82
rect -72 34 530 81
rect -70 -32 530 34
rect 428 -213 530 -32
rect 421 -234 537 -213
rect 421 -300 442 -234
rect 515 -300 537 -234
rect 421 -328 537 -300
rect 412 -751 533 -727
rect 412 -821 436 -751
rect 514 -821 533 -751
rect 412 -852 533 -821
rect 413 -1014 519 -852
rect -70 -1024 519 -1014
rect -82 -1100 519 -1024
rect -82 -1250 46 -1100
rect 413 -1102 519 -1100
rect -83 -1268 46 -1250
rect -83 -1336 -55 -1268
rect 14 -1336 46 -1268
rect -83 -1372 46 -1336
use sky130_fd_pr__pfet_01v8_2XUZHN  sky130_fd_pr__pfet_01v8_2XUZHN_0
transform 1 0 21 0 1 220
box -109 -162 109 162
use sky130_fd_pr__pfet_01v8_2XUZHN  sky130_fd_pr__pfet_01v8_2XUZHN_1
transform 1 0 425 0 1 220
box -109 -162 109 162
use sky130_fd_pr__pfet_01v8_2XUZHN  sky130_fd_pr__pfet_01v8_2XUZHN_2
transform 1 0 21 0 1 -291
box -109 -162 109 162
use sky130_fd_pr__pfet_01v8_2XUZHN  sky130_fd_pr__pfet_01v8_2XUZHN_3
transform 1 0 425 0 1 -291
box -109 -162 109 162
use sky130_fd_pr__pfet_01v8_2XUZHN  sky130_fd_pr__pfet_01v8_2XUZHN_4
transform 1 0 21 0 1 -1301
box -109 -162 109 162
use sky130_fd_pr__pfet_01v8_2XUZHN  sky130_fd_pr__pfet_01v8_2XUZHN_5
transform 1 0 425 0 1 -1301
box -109 -162 109 162
use sky130_fd_pr__pfet_01v8_2XUZHN  sky130_fd_pr__pfet_01v8_2XUZHN_6
transform 1 0 21 0 1 -787
box -109 -162 109 162
use sky130_fd_pr__pfet_01v8_2XUZHN  sky130_fd_pr__pfet_01v8_2XUZHN_7
transform 1 0 425 0 1 -787
box -109 -162 109 162
use sky130_fd_pr__pfet_01v8_VQXX6L  sky130_fd_pr__pfet_01v8_VQXX6L_0
transform 1 0 223 0 1 -1301
box -223 -200 223 200
use sky130_fd_pr__pfet_01v8_VQXX6L  sky130_fd_pr__pfet_01v8_VQXX6L_1
transform 1 0 223 0 1 -787
box -223 -200 223 200
use sky130_fd_pr__pfet_01v8_VQXX6L  sky130_fd_pr__pfet_01v8_VQXX6L_2
transform 1 0 223 0 1 -291
box -223 -200 223 200
use sky130_fd_pr__pfet_01v8_VQXX6L  sky130_fd_pr__pfet_01v8_VQXX6L_3
transform 1 0 223 0 1 220
box -223 -200 223 200
<< labels >>
flabel viali 219 462 219 462 0 FreeSans 800 0 0 0 vdd
port 1 nsew
flabel metal1 227 261 227 261 0 FreeSans 800 0 0 0 s
port 2 nsew
flabel metal1 124 375 124 375 0 FreeSans 800 0 0 0 vin
port 3 nsew
flabel metal1 300 378 300 378 0 FreeSans 800 0 0 0 vip
port 4 nsew
flabel via3 -43 195 -43 195 0 FreeSans 800 0 0 0 d6
port 5 nsew
flabel metal1 467 203 467 203 0 FreeSans 800 0 0 0 out
port 6 nsew
<< end >>

# cell sky130_fd_pr__pfet_01v8_2XUZHN: kit device sky130_fd_pr__pfet_01v8, w 1 l 0.15 m 1 nf 1 diffcov 100 polycov 100 guard 0 glc 1 grc 1 gtc 1 gbc 1 tbcov 100 rlcov 100 topc 0 botc 0 poverlap 0 doverlap 1 lmin 0.15 wmin 0.42 compatible {sky130_fd_pr__pfet_01v8 sky130_fd_pr__pfet_01v8_lvt sky130_fd_pr__pfet_01v8_hvt sky130_fd_pr__pfet_g5v0d10v5} full_metal 1 viasrc 100 viadrn 100 viagate 100 viagb 0 viagr 0 viagl 0 viagt 0

# cell sky130_fd_pr__pfet_01v8_VQXX6L: kit device sky130_fd_pr__pfet_01v8, w 1 l 0.5 m 1 nf 2 diffcov 100 polycov 100 guard 0 glc 1 grc 1 gtc 1 gbc 1 tbcov 100 rlcov 100 topc 1 botc 1 poverlap 0 doverlap 1 lmin 0.15 wmin 0.42 compatible {sky130_fd_pr__pfet_01v8 sky130_fd_pr__pfet_01v8_lvt sky130_fd_pr__pfet_01v8_hvt sky130_fd_pr__pfet_g5v0d10v5} full_metal 1 viasrc 100 viadrn 100 viagate 60 viagb 0 viagr 0 viagl 0 viagt 0

# cell sky130_fd_pr__pfet_01v8_2ZH9AN: kit device sky130_fd_pr__pfet_01v8, w 2 l 0.15 m 1 nf 1 diffcov 100 polycov 100 guard 0 glc 1 grc 1 gtc 1 gbc 1 tbcov 100 rlcov 100 topc 0 botc 0 poverlap 0 doverlap 1 lmin 0.15 wmin 0.42 compatible {sky130_fd_pr__pfet_01v8 sky130_fd_pr__pfet_01v8_lvt sky130_fd_pr__pfet_01v8_hvt sky130_fd_pr__pfet_g5v0d10v5} full_metal 1 viasrc 100 viadrn 100 viagate 100 viagb 0 viagr 0 viagl 0 viagt 0

# cell sky130_fd_pr__pfet_01v8_5YU9EE: kit device sky130_fd_pr__pfet_01v8, w 2 l 0.15 m 1 nf 1 diffcov 100 polycov 100 guard 0 glc 0 grc 0 gtc 0 gbc 0 tbcov 100 rlcov 100 topc 0 botc 0 poverlap 0 doverlap 1 lmin 0.15 wmin 0.42 compatible {sky130_fd_pr__pfet_01v8 sky130_fd_pr__pfet_01v8_lvt sky130_fd_pr__pfet_01v8_hvt sky130_fd_pr__pfet_g5v0d10v5} full_metal 0 viasrc 100 viadrn 100 viagate 100 viagb 0 viagr 0 viagl 0 viagt 0

# cell sky130_fd_pr__pfet_01v8_SZEHRC: kit device sky130_fd_pr__pfet_01v8, w 2 l 1 m 1 nf 2 diffcov 100 polycov 100 guard 0 glc 0 grc 0 gtc 0 gbc 0 tbcov 100 rlcov 100 topc 1 botc 1 poverlap 0 doverlap 1 lmin 0.15 wmin 0.42 compatible {sky130_fd_pr__pfet_01v8 sky130_fd_pr__pfet_01v8_lvt sky130_fd_pr__pfet_01v8_hvt sky130_fd_pr__pfet_g5v0d10v5} full_metal 0 viasrc 100 viadrn 100 viagate 70 viagb 0 viagr 0 viagl 0 viagt 0

# cell sky130_fd_pr__nfet_01v8_6H9P4D: kit device sky130_fd_pr__nfet_01v8, w 1 l 0.150 m 1 nf 1 diffcov 100 polycov 100 guard 0 glc 1 grc 1 gtc 1 gbc 1 tbcov 100 rlcov 100 topc 0 botc 0 poverlap 0 doverlap 1 lmin 0.15 wmin 0.42 compatible {sky130_fd_pr__nfet_01v8 sky130_fd_pr__nfet_01v8_lvt sky130_fd_bs_flash__special_sonosfet_star sky130_fd_pr__nfet_g5v0d10v5 sky130_fd_pr__nfet_05v0_nvt sky130_fd_pr__nfet_03v3_nvt} full_metal 1 viasrc 100 viadrn 100 viagate 100 viagb 0 viagr 0 viagl 0 viagt 0

# cell sky130_fd_pr__nfet_01v8_DXNGNZ: kit device sky130_fd_pr__nfet_01v8, w 1 l 0.8 m 1 nf 4 diffcov 100 polycov 100 guard 0 glc 1 grc 1 gtc 1 gbc 1 tbcov 100 rlcov 100 topc 1 botc 1 poverlap 0 doverlap 1 lmin 0.15 wmin 0.42 compatible {sky130_fd_pr__nfet_01v8 sky130_fd_pr__nfet_01v8_lvt sky130_fd_bs_flash__special_sonosfet_star sky130_fd_pr__nfet_g5v0d10v5 sky130_fd_pr__nfet_05v0_nvt sky130_fd_pr__nfet_03v3_nvt} full_metal 1 viasrc 100 viadrn 100 viagate 70 viagb 0 viagr 0 viagl 0 viagt 0

# cell sky130_fd_pr__nfet_01v8_6C7GGL: kit device sky130_fd_pr__nfet_01v8, w 2 l 0.150 m 1 nf 1 diffcov 100 polycov 100 guard 0 glc 1 grc 1 gtc 1 gbc 1 tbcov 100 rlcov 100 topc 0 botc 0 poverlap 0 doverlap 0 lmin 0.15 wmin 0.42 compatible {sky130_fd_pr__nfet_01v8 sky130_fd_pr__nfet_01v8_lvt sky130_fd_bs_flash__special_sonosfet_star sky130_fd_pr__nfet_g5v0d10v5 sky130_fd_pr__nfet_05v0_nvt sky130_fd_pr__nfet_03v3_nvt} full_metal 1 viasrc 100 viadrn 100 viagate 100 viagb 0 viagr 0 viagl 0 viagt 0

# cell sky130_fd_pr__nfet_01v8_8UMB6F: kit device sky130_fd_pr__nfet_01v8, w 2 l 1 m 1 nf 2 diffcov 100 polycov 100 guard 0 glc 1 grc 1 gtc 1 gbc 1 tbcov 100 rlcov 100 topc 1 botc 1 poverlap 0 doverlap 0 lmin 0.15 wmin 0.42 compatible {sky130_fd_pr__nfet_01v8 sky130_fd_pr__nfet_01v8_lvt sky130_fd_bs_flash__special_sonosfet_star sky130_fd_pr__nfet_g5v0d10v5 sky130_fd_pr__nfet_05v0_nvt sky130_fd_pr__nfet_03v3_nvt} full_metal 1 viasrc 100 viadrn 100 viagate 70 viagb 0 viagr 0 viagl 0 viagt 0
